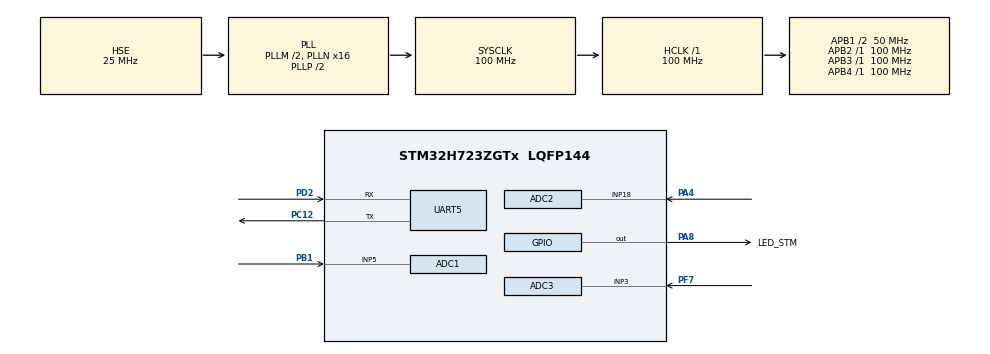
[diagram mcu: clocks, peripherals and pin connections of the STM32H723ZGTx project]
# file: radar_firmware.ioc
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ADC1.Channel-0\#ChannelRegularConversion=ADC_CHANNEL_5
ADC1.ClockPrescaler=ADC_CLOCK_ASYNC_DIV4
ADC1.ContinuousConvMode=DISABLE
ADC1.NbrOfConversionFlag=1
ADC1.OffsetNumber-0\#ChannelRegularConversion=ADC_OFFSET_NONE
ADC1.OffsetSignedSaturation-0\#ChannelRegularConversion=DISABLE
ADC1.Rank-0\#ChannelRegularConversion=1
ADC1.SamplingTime-0\#ChannelRegularConversion=ADC_SAMPLETIME_810CYCLES_5
ADC1.master=1
ADC2.Channel-0\#ChannelRegularConversion=ADC_CHANNEL_18
ADC2.ClockPrescaler=ADC_CLOCK_ASYNC_DIV4
ADC2.ContinuousConvMode=DISABLE
ADC2.NbrOfConversionFlag=1
ADC2.OffsetNumber-0\#ChannelRegularConversion=ADC_OFFSET_NONE
ADC2.OffsetSignedSaturation-0\#ChannelRegularConversion=DISABLE
ADC2.Rank-0\#ChannelRegularConversion=1
ADC2.SamplingTime-0\#ChannelRegularConversion=ADC_SAMPLETIME_810CYCLES_5
ADC3.Channel-0\#ChannelRegularConversion=ADC_CHANNEL_3
ADC3.Channel-1\#ChannelRegularConversion=ADC_CHANNEL_TEMPSENSOR
ADC3.Channel-2\#ChannelRegularConversion=ADC_CHANNEL_VREFINT
ADC3.ClockPrescaler=ADC_CLOCK_ASYNC_DIV4
ADC3.ContinuousConvMode=ENABLE
ADC3.DMAContinuousRequests=ENABLE
ADC3.EOCSelection=ADC_EOC_SEQ_CONV
ADC3.NbrOfConversion=3
ADC3.NbrOfConversionFlag=1
ADC3.OffsetNumber-0\#ChannelRegularConversion=ADC_OFFSET_NONE
ADC3.OffsetNumber-1\#ChannelRegularConversion=ADC_OFFSET_NONE
ADC3.OffsetNumber-2\#ChannelRegularConversion=ADC_OFFSET_NONE
ADC3.OffsetSign-0\#ChannelRegularConversion=ADC3_OFFSET_SIGN_NEGATIVE
ADC3.OffsetSign-1\#ChannelRegularConversion=ADC3_OFFSET_SIGN_NEGATIVE
ADC3.OffsetSign-2\#ChannelRegularConversion=ADC3_OFFSET_SIGN_NEGATIVE
ADC3.Rank-0\#ChannelRegularConversion=1
ADC3.Rank-1\#ChannelRegularConversion=2
ADC3.Rank-2\#ChannelRegularConversion=3
ADC3.SamplingTime-0\#ChannelRegularConversion=ADC3_SAMPLETIME_640CYCLES_5
ADC3.SamplingTime-1\#ChannelRegularConversion=ADC3_SAMPLETIME_640CYCLES_5
ADC3.SamplingTime-2\#ChannelRegularConversion=ADC3_SAMPLETIME_640CYCLES_5
CORTEX_M7.default_mode_Activation=1
Dma.ADC3.0.Direction=DMA_PERIPH_TO_MEMORY
Dma.ADC3.0.EventEnable=DISABLE
Dma.ADC3.0.FIFOMode=DMA_FIFOMODE_DISABLE
Dma.ADC3.0.Instance=DMA1_Stream0
Dma.ADC3.0.MemDataAlignment=DMA_MDATAALIGN_HALFWORD
Dma.ADC3.0.MemInc=DMA_MINC_ENABLE
Dma.ADC3.0.Mode=DMA_CIRCULAR
Dma.ADC3.0.PeriphDataAlignment=DMA_PDATAALIGN_HALFWORD
Dma.ADC3.0.PeriphInc=DMA_PINC_DISABLE
Dma.ADC3.0.Polarity=HAL_DMAMUX_REQ_GEN_RISING
Dma.ADC3.0.Priority=DMA_PRIORITY_LOW
Dma.ADC3.0.RequestNumber=1
Dma.ADC3.0.SignalID=NONE
Dma.ADC3.0.SyncEnable=DISABLE
Dma.ADC3.0.SyncPolarity=HAL_DMAMUX_SYNC_NO_EVENT
Dma.ADC3.0.SyncRequestNumber=1
Dma.ADC3.0.SyncSignalID=NONE
Dma.Request0=ADC3
Mcu.Family=STM32H7
Mcu.Name=STM32H723ZGTx
Mcu.Package=LQFP144
NVIC.ADC_IRQn=true\:0\:0\:false\:false\:true\:true\:true\:true
NVIC.DMA1_Stream0_IRQn=true\:0\:0\:false\:false\:true\:false\:true\:true
NVIC.PriorityGroup=NVIC_PRIORITYGROUP_4
NVIC.UART5_IRQn=true\:0\:0\:false\:false\:true\:true\:true\:true
PA4.Signal=ADCx_INP18
PA8.GPIO_Label=LED_STM
PA8.Signal=GPIO_Output
PB1.Signal=ADCx_INP5
PC12.Mode=Asynchronous
PC12.Signal=UART5_TX
PD2.Mode=Asynchronous
PD2.Signal=UART5_RX
PF7.Mode=IN3-Single-Ended
PF7.Signal=ADC3_INP3
PH0-OSC_IN.Mode=HSE-External-Clock-Source
PH0-OSC_IN.Signal=RCC_OSC_IN
ProjectManager.HeapSize=0x200
ProjectManager.StackSize=0x400
ProjectManager.TargetToolchain=STM32CubeIDE
RCC.ADCFreq_Value=38750000
RCC.APB1Freq_Value=50000000
RCC.APB2Freq_Value=100000000
RCC.APB3Freq_Value=100000000
RCC.APB4Freq_Value=100000000
RCC.CortexFreq_Value=100000000
RCC.D2PPRE1=RCC_APB1_DIV2
RCC.DIVM1=2
RCC.DIVM2=4
RCC.DIVN1=16
RCC.DIVN2=31
RCC.DIVP2=5
RCC.HCLKFreq_Value=100000000
RCC.HSIDiv=RCC_PLLSAIDIVR_2
RCC.PLL2FRACN=0
RCC.PLL3FRACN=0
RCC.PLLFRACN=0
RCC.PLLSourceVirtual=RCC_PLLSOURCE_HSE
RCC.SYSCLKFreq_VALUE=100000000
RCC.SYSCLKSource=RCC_SYSCLKSOURCE_PLLCLK
RCC.USBFreq_Value=100000000
SH.ADCx_INP18.0=ADC2_INP18,IN18-Single-Ended
SH.ADCx_INP5.0=ADC1_INP5,IN5-Single-Ended
VP_ADC3_TempSens_Input.Mode=IN-TempSens
VP_ADC3_Vref_Input.Mode=IN-Vrefint
VP_MEMORYMAP_VS_MEMORYMAP.Mode=CurAppReg
board=custom

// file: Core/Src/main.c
/* USER CODE BEGIN Header */
/**
  ******************************************************************************
  * @file           : main.c
  * @brief          : Main program body
  ******************************************************************************
  * @attention
  *
  * Copyright (c) 2025 STMicroelectronics.
  * All rights reserved.
  *
  * This software is licensed under terms that can be found in the LICENSE file
  * in the root directory of this software component.
  * If no LICENSE file comes with this software, it is provided AS-IS.
  *
  ******************************************************************************
  */
/* USER CODE END Header */
#include "main.h"

/* USER CODE BEGIN Includes */
#include <stdio.h>
#include <string.h>
#include "arm_math.h"

#include "defines.h"
#include "adc_lib.h"
#include "dsp_lib.h"
/* USER CODE END Includes */

ADC_HandleTypeDef hadc1;
ADC_HandleTypeDef hadc2;
ADC_HandleTypeDef hadc3;
DMA_HandleTypeDef hdma_adc3;

UART_HandleTypeDef huart5;

/* USER CODE BEGIN PV */
char IQ_buffer_tx[TX_BUFF_SIZE];
char temp_buffer_tx[TX_BUFF_SIZE];
char ellipse_buffer_tx[TX_BUFF_SIZE];

float32_t I_calibration_buffer[CALIBRATION_BUFF_SIZE];
float32_t Q_calibration_buffer[CALIBRATION_BUFF_SIZE];

uint32_t adc1_data = 0;
uint32_t adc2_data = 0;
uint16_t adc3_data[NUM_OF_CONVERSIONS]; //[0] - adc_ntc2, [1] - adc_sen, [2] - adc_vref

uint16_t adc_ntc2 = 0;
uint16_t adc_sen = 0;
uint16_t adc_vref = 0;

uint32_t last_iq_update = 0;
uint32_t last_temp_update = 0;

float32_t mat_x[5] = {};
float32_t mat_y[5] = {};
float32_t coef[5][1] = {};
float32_t dc[2] = {};
float32_t phi = 0.0f;
float32_t scale[2] = {};

float32_t I = 0.0;
float32_t Q = 0.0;
float32_t temp_ntc2 = 0.0;
float32_t internal_temp = 0.0;

/* USER CODE END PV */

void SystemClock_Config(void);
void PeriphCommonClock_Config(void);
static void MPU_Config(void);
static void MX_GPIO_Init(void);
static void MX_DMA_Init(void);
static void MX_ADC1_Init(void);
static void MX_UART5_Init(void);
static void MX_ADC3_Init(void);
static void MX_ADC2_Init(void);
/* USER CODE BEGIN PFP */
int __io_putchar(int ch);

/* USER CODE END PFP */

int main(void)
{

  /* MPU Configuration--------------------------------------------------------*/
  MPU_Config();

  /* MCU Configuration--------------------------------------------------------*/

  /* Reset of all peripherals, Initializes the Flash interface and the Systick. */
  HAL_Init();

  /* Configure the system clock */
  SystemClock_Config();

  /* Configure the peripherals common clocks */
  PeriphCommonClock_Config();

  /* Initialize all configured peripherals */
  MX_GPIO_Init();
  MX_DMA_Init();
  MX_ADC1_Init();
  MX_UART5_Init();
  MX_ADC3_Init();
  MX_ADC2_Init();
  /* USER CODE BEGIN 2 */
  PrepareADCRead();

  HAL_GPIO_WritePin(LED_STM_GPIO_Port, LED_STM_Pin, GPIO_PIN_RESET);
  HAL_Delay(10000);
  HAL_GPIO_WritePin(LED_STM_GPIO_Port, LED_STM_Pin, GPIO_PIN_SET);

  for(int i = 0; i < CALIBRATION_BUFF_SIZE; i++) {
	  GetIQData(&I, &Q);
	  I_calibration_buffer[i] = I;
	  Q_calibration_buffer[i] = Q;
	  sprintf(ellipse_buffer_tx, "ELLIPSE: %.4f, %.4f\r\n", I_calibration_buffer[i], Q_calibration_buffer[i]);
	  HAL_UART_Transmit(&huart5, (uint8_t*)ellipse_buffer_tx, strlen(ellipse_buffer_tx), HAL_MAX_DELAY);
	  HAL_Delay(10);
  }

  uint8_t index = 0;
  for(int i = 0; i < CALIBRATION_BUFF_SIZE; i++) {
	  if(i % 10 == 0) {
		  mat_x[index] = I_calibration_buffer[i];
		  mat_y[index] = Q_calibration_buffer[i];
		  index++;
	  }
  }

  for(int i = 0; i < 5; i++) {
	  sprintf(ellipse_buffer_tx, "ELLIPSE: %.4f, %.4f\r\n", mat_x[i], mat_y[i]);
	  HAL_UART_Transmit(&huart5, (uint8_t*)ellipse_buffer_tx, strlen(ellipse_buffer_tx), HAL_MAX_DELAY);
  }

  coeff(mat_x, mat_y, coef);
  calc_dc_phi(coef, dc, &phi);
  calc_scal(mat_x, mat_y, &phi, dc, scale);

  HAL_GPIO_WritePin(LED_STM_GPIO_Port, LED_STM_Pin, GPIO_PIN_RESET);
  /* USER CODE END 2 */

  /* Infinite loop */
  /* USER CODE BEGIN WHILE */
  while (1)
  {
	  uint32_t current_tick = HAL_GetTick();
	  if(current_tick - last_iq_update >= 250) {
		  last_iq_update = current_tick;

		  GetIQData(&I, &Q);
		  transform(&I, &Q, dc, &phi, scale);

		  sprintf(IQ_buffer_tx, "IQ: %.4f, %.4f\r\n", I, Q);
		  HAL_UART_Transmit(&huart5, (uint8_t*)IQ_buffer_tx, strlen(IQ_buffer_tx), HAL_MAX_DELAY);
	  }

	  if(current_tick - last_temp_update >= 5000) {
		  last_temp_update = current_tick;

		  GetTempData(&temp_ntc2, &internal_temp);

		  sprintf(temp_buffer_tx, "TEMP: %.2f, %.2f\r\n", temp_ntc2, internal_temp);
		  HAL_UART_Transmit(&huart5, (uint8_t*)temp_buffer_tx, strlen(temp_buffer_tx), HAL_MAX_DELAY);
	  }
    /* USER CODE END WHILE */

  }
}

void SystemClock_Config(void)
{
  RCC_OscInitTypeDef RCC_OscInitStruct = {0};
  RCC_ClkInitTypeDef RCC_ClkInitStruct = {0};

  /** Supply configuration update enable
  */
  HAL_PWREx_ConfigSupply(PWR_LDO_SUPPLY);

  /** Configure the main internal regulator output voltage
  */
  __HAL_PWR_VOLTAGESCALING_CONFIG(PWR_REGULATOR_VOLTAGE_SCALE2);

  while(!__HAL_PWR_GET_FLAG(PWR_FLAG_VOSRDY)) {}

  /** Initializes the RCC Oscillators according to the specified parameters
  * in the RCC_OscInitTypeDef structure.
  */
  RCC_OscInitStruct.OscillatorType = RCC_OSCILLATORTYPE_HSE;
  RCC_OscInitStruct.HSEState = RCC_HSE_BYPASS;
  RCC_OscInitStruct.PLL.PLLState = RCC_PLL_ON;
  RCC_OscInitStruct.PLL.PLLSource = RCC_PLLSOURCE_HSE;
  RCC_OscInitStruct.PLL.PLLM = 2;
  RCC_OscInitStruct.PLL.PLLN = 16;
  RCC_OscInitStruct.PLL.PLLP = 2;
  RCC_OscInitStruct.PLL.PLLQ = 2;
  RCC_OscInitStruct.PLL.PLLR = 2;
  RCC_OscInitStruct.PLL.PLLRGE = RCC_PLL1VCIRANGE_3;
  RCC_OscInitStruct.PLL.PLLVCOSEL = RCC_PLL1VCOWIDE;
  RCC_OscInitStruct.PLL.PLLFRACN = 0;
  if (HAL_RCC_OscConfig(&RCC_OscInitStruct) != HAL_OK)
  {
    Error_Handler();
  }

  /** Initializes the CPU, AHB and APB buses clocks
  */
  RCC_ClkInitStruct.ClockType = RCC_CLOCKTYPE_HCLK|RCC_CLOCKTYPE_SYSCLK
                              |RCC_CLOCKTYPE_PCLK1|RCC_CLOCKTYPE_PCLK2
                              |RCC_CLOCKTYPE_D3PCLK1|RCC_CLOCKTYPE_D1PCLK1;
  RCC_ClkInitStruct.SYSCLKSource = RCC_SYSCLKSOURCE_PLLCLK;
  RCC_ClkInitStruct.SYSCLKDivider = RCC_SYSCLK_DIV1;
  RCC_ClkInitStruct.AHBCLKDivider = RCC_HCLK_DIV1;
  RCC_ClkInitStruct.APB3CLKDivider = RCC_APB3_DIV1;
  RCC_ClkInitStruct.APB1CLKDivider = RCC_APB1_DIV2;
  RCC_ClkInitStruct.APB2CLKDivider = RCC_APB2_DIV1;
  RCC_ClkInitStruct.APB4CLKDivider = RCC_APB4_DIV1;

  if (HAL_RCC_ClockConfig(&RCC_ClkInitStruct, FLASH_LATENCY_1) != HAL_OK)
  {
    Error_Handler();
  }
}

void PeriphCommonClock_Config(void)
{
  RCC_PeriphCLKInitTypeDef PeriphClkInitStruct = {0};

  /** Initializes the peripherals clock
  */
  PeriphClkInitStruct.PeriphClockSelection = RCC_PERIPHCLK_ADC;
  PeriphClkInitStruct.PLL2.PLL2M = 4;
  PeriphClkInitStruct.PLL2.PLL2N = 31;
  PeriphClkInitStruct.PLL2.PLL2P = 5;
  PeriphClkInitStruct.PLL2.PLL2Q = 2;
  PeriphClkInitStruct.PLL2.PLL2R = 2;
  PeriphClkInitStruct.PLL2.PLL2RGE = RCC_PLL2VCIRANGE_2;
  PeriphClkInitStruct.PLL2.PLL2VCOSEL = RCC_PLL2VCOWIDE;
  PeriphClkInitStruct.PLL2.PLL2FRACN = 0;
  PeriphClkInitStruct.AdcClockSelection = RCC_ADCCLKSOURCE_PLL2;
  if (HAL_RCCEx_PeriphCLKConfig(&PeriphClkInitStruct) != HAL_OK)
  {
    Error_Handler();
  }
}

static void MX_ADC1_Init(void)
{

  ADC_MultiModeTypeDef multimode = {0};
  ADC_ChannelConfTypeDef sConfig = {0};

  /** Common config
  */
  hadc1.Instance = ADC1;
  hadc1.Init.ClockPrescaler = ADC_CLOCK_ASYNC_DIV4;
  hadc1.Init.Resolution = ADC_RESOLUTION_16B;
  hadc1.Init.ScanConvMode = ADC_SCAN_DISABLE;
  hadc1.Init.EOCSelection = ADC_EOC_SINGLE_CONV;
  hadc1.Init.LowPowerAutoWait = DISABLE;
  hadc1.Init.ContinuousConvMode = DISABLE;
  hadc1.Init.NbrOfConversion = 1;
  hadc1.Init.DiscontinuousConvMode = DISABLE;
  hadc1.Init.ExternalTrigConv = ADC_SOFTWARE_START;
  hadc1.Init.ExternalTrigConvEdge = ADC_EXTERNALTRIGCONVEDGE_NONE;
  hadc1.Init.ConversionDataManagement = ADC_CONVERSIONDATA_DR;
  hadc1.Init.Overrun = ADC_OVR_DATA_PRESERVED;
  hadc1.Init.LeftBitShift = ADC_LEFTBITSHIFT_NONE;
  hadc1.Init.OversamplingMode = DISABLE;
  hadc1.Init.Oversampling.Ratio = 1;
  if (HAL_ADC_Init(&hadc1) != HAL_OK)
  {
    Error_Handler();
  }

  /** Configure the ADC multi-mode
  */
  multimode.Mode = ADC_MODE_INDEPENDENT;
  if (HAL_ADCEx_MultiModeConfigChannel(&hadc1, &multimode) != HAL_OK)
  {
    Error_Handler();
  }

  /** Configure Regular Channel
  */
  sConfig.Channel = ADC_CHANNEL_5;
  sConfig.Rank = ADC_REGULAR_RANK_1;
  sConfig.SamplingTime = ADC_SAMPLETIME_810CYCLES_5;
  sConfig.SingleDiff = ADC_SINGLE_ENDED;
  sConfig.OffsetNumber = ADC_OFFSET_NONE;
  sConfig.Offset = 0;
  sConfig.OffsetSignedSaturation = DISABLE;
  if (HAL_ADC_ConfigChannel(&hadc1, &sConfig) != HAL_OK)
  {
    Error_Handler();
  }

}

static void MX_ADC2_Init(void)
{

  ADC_ChannelConfTypeDef sConfig = {0};

  /** Common config
  */
  hadc2.Instance = ADC2;
  hadc2.Init.ClockPrescaler = ADC_CLOCK_ASYNC_DIV4;
  hadc2.Init.Resolution = ADC_RESOLUTION_16B;
  hadc2.Init.ScanConvMode = ADC_SCAN_DISABLE;
  hadc2.Init.EOCSelection = ADC_EOC_SINGLE_CONV;
  hadc2.Init.LowPowerAutoWait = DISABLE;
  hadc2.Init.ContinuousConvMode = DISABLE;
  hadc2.Init.NbrOfConversion = 1;
  hadc2.Init.DiscontinuousConvMode = DISABLE;
  hadc2.Init.ExternalTrigConv = ADC_SOFTWARE_START;
  hadc2.Init.ExternalTrigConvEdge = ADC_EXTERNALTRIGCONVEDGE_NONE;
  hadc2.Init.ConversionDataManagement = ADC_CONVERSIONDATA_DR;
  hadc2.Init.Overrun = ADC_OVR_DATA_PRESERVED;
  hadc2.Init.LeftBitShift = ADC_LEFTBITSHIFT_NONE;
  hadc2.Init.OversamplingMode = DISABLE;
  hadc2.Init.Oversampling.Ratio = 1;
  if (HAL_ADC_Init(&hadc2) != HAL_OK)
  {
    Error_Handler();
  }

  /** Configure Regular Channel
  */
  sConfig.Channel = ADC_CHANNEL_18;
  sConfig.Rank = ADC_REGULAR_RANK_1;
  sConfig.SamplingTime = ADC_SAMPLETIME_810CYCLES_5;
  sConfig.SingleDiff = ADC_SINGLE_ENDED;
  sConfig.OffsetNumber = ADC_OFFSET_NONE;
  sConfig.Offset = 0;
  sConfig.OffsetSignedSaturation = DISABLE;
  if (HAL_ADC_ConfigChannel(&hadc2, &sConfig) != HAL_OK)
  {
    Error_Handler();
  }

}

static void MX_ADC3_Init(void)
{

  ADC_ChannelConfTypeDef sConfig = {0};

  /** Common config
  */
  hadc3.Instance = ADC3;
  hadc3.Init.ClockPrescaler = ADC_CLOCK_ASYNC_DIV1;
  hadc3.Init.Resolution = ADC_RESOLUTION_12B;
  hadc3.Init.DataAlign = ADC3_DATAALIGN_RIGHT;
  hadc3.Init.ScanConvMode = ADC_SCAN_ENABLE;
  hadc3.Init.EOCSelection = ADC_EOC_SEQ_CONV;
  hadc3.Init.LowPowerAutoWait = DISABLE;
  hadc3.Init.ContinuousConvMode = ENABLE;
  hadc3.Init.NbrOfConversion = 3;
  hadc3.Init.DiscontinuousConvMode = DISABLE;
  hadc3.Init.ExternalTrigConv = ADC_SOFTWARE_START;
  hadc3.Init.ExternalTrigConvEdge = ADC_EXTERNALTRIGCONVEDGE_NONE;
  hadc3.Init.DMAContinuousRequests = ENABLE;
  hadc3.Init.SamplingMode = ADC_SAMPLING_MODE_NORMAL;
  hadc3.Init.ConversionDataManagement = ADC_CONVERSIONDATA_DR;
  hadc3.Init.Overrun = ADC_OVR_DATA_PRESERVED;
  hadc3.Init.LeftBitShift = ADC_LEFTBITSHIFT_NONE;
  hadc3.Init.OversamplingMode = DISABLE;
  hadc3.Init.Oversampling.Ratio = ADC3_OVERSAMPLING_RATIO_2;
  if (HAL_ADC_Init(&hadc3) != HAL_OK)
  {
    Error_Handler();
  }

  /** Configure Regular Channel
  */
  sConfig.Channel = ADC_CHANNEL_3;
  sConfig.Rank = ADC_REGULAR_RANK_1;
  sConfig.SamplingTime = ADC3_SAMPLETIME_640CYCLES_5;
  sConfig.SingleDiff = ADC_SINGLE_ENDED;
  sConfig.OffsetNumber = ADC_OFFSET_NONE;
  sConfig.Offset = 0;
  sConfig.OffsetSign = ADC3_OFFSET_SIGN_NEGATIVE;
  if (HAL_ADC_ConfigChannel(&hadc3, &sConfig) != HAL_OK)
  {
    Error_Handler();
  }

  /** Configure Regular Channel
  */
  sConfig.Channel = ADC_CHANNEL_TEMPSENSOR;
  sConfig.Rank = ADC_REGULAR_RANK_2;
  if (HAL_ADC_ConfigChannel(&hadc3, &sConfig) != HAL_OK)
  {
    Error_Handler();
  }

  /** Configure Regular Channel
  */
  sConfig.Channel = ADC_CHANNEL_VREFINT;
  sConfig.Rank = ADC_REGULAR_RANK_3;
  if (HAL_ADC_ConfigChannel(&hadc3, &sConfig) != HAL_OK)
  {
    Error_Handler();
  }

}

static void MX_UART5_Init(void)
{

  huart5.Instance = UART5;
  huart5.Init.BaudRate = 115200;
  huart5.Init.WordLength = UART_WORDLENGTH_8B;
  huart5.Init.StopBits = UART_STOPBITS_1;
  huart5.Init.Parity = UART_PARITY_NONE;
  huart5.Init.Mode = UART_MODE_TX_RX;
  huart5.Init.HwFlowCtl = UART_HWCONTROL_NONE;
  huart5.Init.OverSampling = UART_OVERSAMPLING_16;
  huart5.Init.OneBitSampling = UART_ONE_BIT_SAMPLE_DISABLE;
  huart5.Init.ClockPrescaler = UART_PRESCALER_DIV1;
  huart5.AdvancedInit.AdvFeatureInit = UART_ADVFEATURE_NO_INIT;
  if (HAL_UART_Init(&huart5) != HAL_OK)
  {
    Error_Handler();
  }
  if (HAL_UARTEx_SetTxFifoThreshold(&huart5, UART_TXFIFO_THRESHOLD_1_8) != HAL_OK)
  {
    Error_Handler();
  }
  if (HAL_UARTEx_SetRxFifoThreshold(&huart5, UART_RXFIFO_THRESHOLD_1_8) != HAL_OK)
  {
    Error_Handler();
  }
  if (HAL_UARTEx_DisableFifoMode(&huart5) != HAL_OK)
  {
    Error_Handler();
  }

}

static void MX_DMA_Init(void)
{

  /* DMA controller clock enable */
  __HAL_RCC_DMA1_CLK_ENABLE();

  /* DMA interrupt init */
  /* DMA1_Stream0_IRQn interrupt configuration */
  HAL_NVIC_SetPriority(DMA1_Stream0_IRQn, 0, 0);
  HAL_NVIC_EnableIRQ(DMA1_Stream0_IRQn);

}

static void MX_GPIO_Init(void)
{
  GPIO_InitTypeDef GPIO_InitStruct = {0};

  /* GPIO Ports Clock Enable */
  __HAL_RCC_GPIOF_CLK_ENABLE();
  __HAL_RCC_GPIOH_CLK_ENABLE();
  __HAL_RCC_GPIOA_CLK_ENABLE();
  __HAL_RCC_GPIOB_CLK_ENABLE();
  __HAL_RCC_GPIOC_CLK_ENABLE();
  __HAL_RCC_GPIOD_CLK_ENABLE();

  /*Configure GPIO pin Output Level */
  HAL_GPIO_WritePin(LED_STM_GPIO_Port, LED_STM_Pin, GPIO_PIN_RESET);

  /*Configure GPIO pin : LED_STM_Pin */
  GPIO_InitStruct.Pin = LED_STM_Pin;
  GPIO_InitStruct.Mode = GPIO_MODE_OUTPUT_PP;
  GPIO_InitStruct.Pull = GPIO_NOPULL;
  GPIO_InitStruct.Speed = GPIO_SPEED_FREQ_LOW;
  HAL_GPIO_Init(LED_STM_GPIO_Port, &GPIO_InitStruct);

}

 /* MPU Configuration */

void MPU_Config(void)
{
  MPU_Region_InitTypeDef MPU_InitStruct = {0};

  /* Disables the MPU */
  HAL_MPU_Disable();

  /** Initializes and configures the Region and the memory to be protected
  */
  MPU_InitStruct.Enable = MPU_REGION_ENABLE;
  MPU_InitStruct.Number = MPU_REGION_NUMBER0;
  MPU_InitStruct.BaseAddress = 0x0;
  MPU_InitStruct.Size = MPU_REGION_SIZE_4GB;
  MPU_InitStruct.SubRegionDisable = 0x87;
  MPU_InitStruct.TypeExtField = MPU_TEX_LEVEL0;
  MPU_InitStruct.AccessPermission = MPU_REGION_NO_ACCESS;
  MPU_InitStruct.DisableExec = MPU_INSTRUCTION_ACCESS_DISABLE;
  MPU_InitStruct.IsShareable = MPU_ACCESS_SHAREABLE;
  MPU_InitStruct.IsCacheable = MPU_ACCESS_NOT_CACHEABLE;
  MPU_InitStruct.IsBufferable = MPU_ACCESS_NOT_BUFFERABLE;

  HAL_MPU_ConfigRegion(&MPU_InitStruct);
  /* Enables the MPU */
  HAL_MPU_Enable(MPU_PRIVILEGED_DEFAULT);

}

void Error_Handler(void)
{
  __disable_irq();
  while (1)
  {
  }
}
